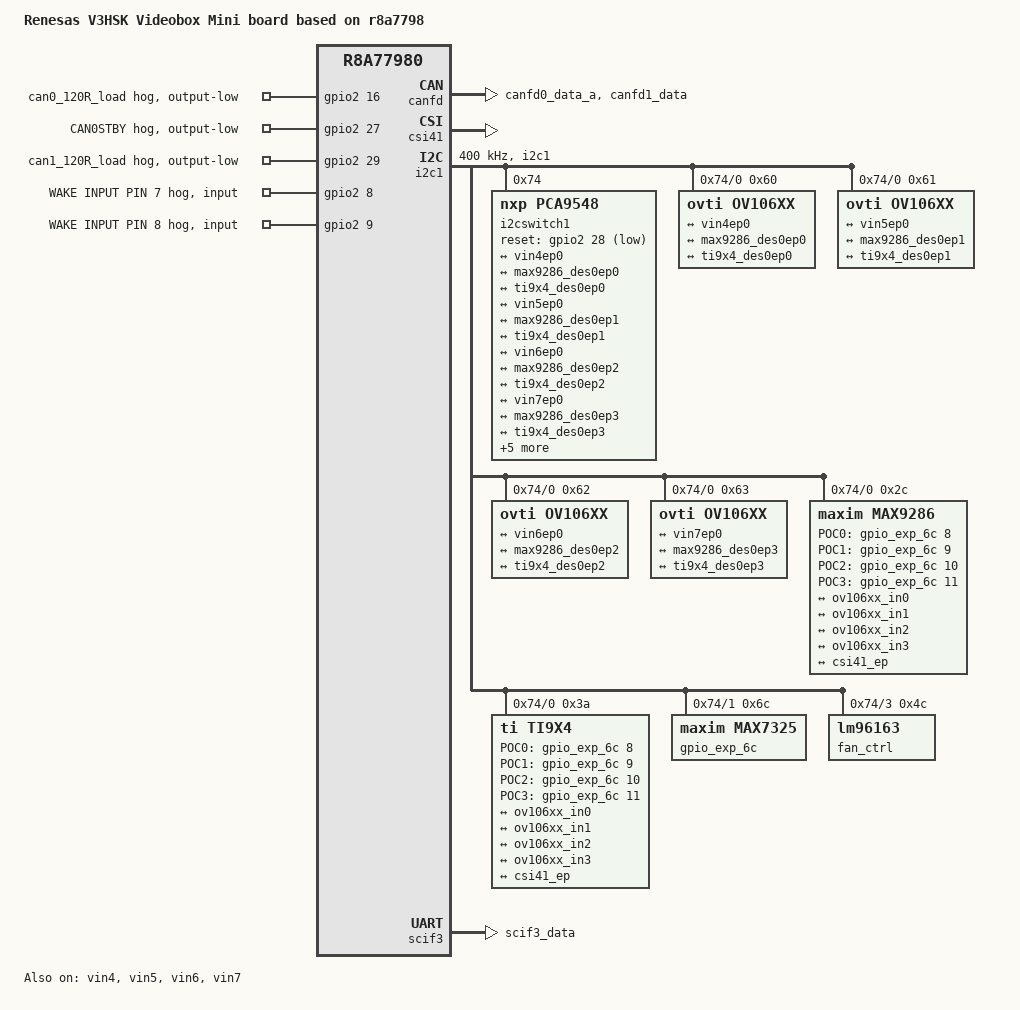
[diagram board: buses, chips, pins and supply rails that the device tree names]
/*
 * Device Tree Source for the V3HSK Videobox Mini board on r8a7798
 *
 * Copyright (C) 2018 Cogent Embedded, Inc.
 *
 * This file is licensed under the terms of the GNU General Public License
 * version 2.  This program is licensed "as is" without any warranty of any
 * kind, whether express or implied.
 */

#include "r8a77980-v3hsk.dts"
#include <dt-bindings/gpio/gpio.h>

/ {
	model = "Renesas V3HSK Videobox Mini board based on r8a7798";

	aliases {
		serial1 = &scif3;
	};
};

&canfd {
	pinctrl-0 = <&canfd0_pins &canfd1_pins>;
	pinctrl-names = "default";
	status = "okay";

	channel0 {
		status = "okay";
	};

	channel1 {
		status = "okay";
	};
};

&csi41 {
	status = "okay";

	virtual,channel {
		csi2_vc0 {
			data,type = "ycbcr422";
			receive,vc = <0>;
		};
		csi2_vc1 {
			data,type = "ycbcr422";
			receive,vc = <1>;
		};
		csi2_vc2 {
			data,type = "ycbcr422";
			receive,vc = <2>;
		};
		csi2_vc3 {
			data,type = "ycbcr422";
			receive,vc = <3>;
		};
	};

	port {
		#address-cells = <1>;
		#size-cells = <0>;

		csi41_ep: endpoint {
			clock-lanes = <0>;
			data-lanes = <1 2 3 4>;
			csi-rate = <300>;
		};
	};
};

&i2c1 {
	pinctrl-0 = <&i2c1_pins>;
	pinctrl-names = "default";
	status = "okay";

	clock-frequency = <400000>;

	i2cswitch1: i2c-switch@74 {
		compatible = "nxp,pca9548";
		#address-cells = <1>;
		#size-cells = <0>;
		reg = <0x74>;
		reset-gpios = <&gpio2 28 GPIO_ACTIVE_LOW>;

		i2c@0 {
			#address-cells = <1>;
			#size-cells = <0>;
			reg = <0>;

			ov106xx@0 {
				compatible = "ovti,ov106xx";
				reg = <0x60>;

				port@0 {
					ov106xx_in0: endpoint {
						clock-lanes = <0>;
						data-lanes = <1 2 3 4>;
						remote-endpoint = <&vin4ep0>;
					};
				};
				port@1 {
					ov106xx_max9286_des0ep0: endpoint@0 {
						remote-endpoint = <&max9286_des0ep0>;
					};
					ov106xx_ti9x4_des0ep0: endpoint@1 {
						remote-endpoint = <&ti9x4_des0ep0>;
					};
				};
			};

			ov106xx@1 {
				compatible = "ovti,ov106xx";
				reg = <0x61>;

				port@0 {
					ov106xx_in1: endpoint {
						clock-lanes = <0>;
						data-lanes = <1 2 3 4>;
						remote-endpoint = <&vin5ep0>;
					};
				};
				port@1 {
					ov106xx_max9286_des0ep1: endpoint@0 {
						remote-endpoint = <&max9286_des0ep1>;
					};
					ov106xx_ti9x4_des0ep1: endpoint@1 {
						remote-endpoint = <&ti9x4_des0ep1>;
					};
				};
			};

			ov106xx@2 {
				compatible = "ovti,ov106xx";
				reg = <0x62>;

				port@0 {
					ov106xx_in2: endpoint {
						clock-lanes = <0>;
						data-lanes = <1 2 3 4>;
						remote-endpoint = <&vin6ep0>;
					};
				};
				port@1 {
					ov106xx_max9286_des0ep2: endpoint@0 {
						remote-endpoint = <&max9286_des0ep2>;
					};
					ov106xx_ti9x4_des0ep2: endpoint@1 {
						remote-endpoint = <&ti9x4_des0ep2>;
					};
				};
			};

			ov106xx@3 {
				compatible = "ovti,ov106xx";
				reg = <0x63>;

				port@0 {
					ov106xx_in3: endpoint {
						clock-lanes = <0>;
						data-lanes = <1 2 3 4>;
						remote-endpoint = <&vin7ep0>;
					};
				};
				port@1 {
					ov106xx_max9286_des0ep3: endpoint@0 {
						remote-endpoint = <&max9286_des0ep3>;
					};
					ov106xx_ti9x4_des0ep3: endpoint@1 {
						remote-endpoint = <&ti9x4_des0ep3>;
					};
				};
			};

			max9286@0 {
				compatible = "maxim,max9286";
				reg = <0x2c>;
				maxim,links = <4>;
				maxim,lanes = <4>;
				maxim,resetb-gpio = <1>;
				maxim,fsync-mode = "automatic";
				maxim,timeout = <100>;

				POC0-gpios = <&gpio_exp_6c 8 GPIO_ACTIVE_HIGH>;
				POC1-gpios = <&gpio_exp_6c 9 GPIO_ACTIVE_HIGH>;
				POC2-gpios = <&gpio_exp_6c 10 GPIO_ACTIVE_HIGH>;
				POC3-gpios = <&gpio_exp_6c 11 GPIO_ACTIVE_HIGH>;

				port@0 {
					max9286_des0ep0: endpoint@0 {
						max9271-addr = <0x50>;
						dvp-order = <1>;
						remote-endpoint = <&ov106xx_in0>;
					};
					max9286_des0ep1: endpoint@1 {
						max9271-addr = <0x51>;
						dvp-order = <1>;
						remote-endpoint = <&ov106xx_in1>;
					};
					max9286_des0ep2: endpoint@2 {
						max9271-addr = <0x52>;
						dvp-order = <1>;
						remote-endpoint = <&ov106xx_in2>;
					};
					max9286_des0ep3: endpoint@3 {
						max9271-addr = <0x53>;
						dvp-order = <1>;
						remote-endpoint = <&ov106xx_in3>;
					};
				};
				port@1 {
					max9286_csi1ep0: endpoint {
						csi-rate = <700>;
						remote-endpoint = <&csi41_ep>;
					};
				};
			};

			ti9x4@0 {
				compatible = "ti,ti9x4";
				reg = <0x3a>;
				ti,links = <4>;
				ti,lanes = <4>;
				ti,forwarding-mode = "round-robin";

				POC0-gpios = <&gpio_exp_6c 8 GPIO_ACTIVE_HIGH>;
				POC1-gpios = <&gpio_exp_6c 9 GPIO_ACTIVE_HIGH>;
				POC2-gpios = <&gpio_exp_6c 10 GPIO_ACTIVE_HIGH>;
				POC3-gpios = <&gpio_exp_6c 11 GPIO_ACTIVE_HIGH>;

				port@0 {
					ti9x4_des0ep0: endpoint@0 {
						ti9x3-addr = <0x0c>;
						dvp-order = <0>;
						remote-endpoint = <&ov106xx_in0>;
					};
					ti9x4_des0ep1: endpoint@1 {
						ti9x3-addr = <0x0d>;
						dvp-order = <0>;
						remote-endpoint = <&ov106xx_in1>;
					};
					ti9x4_des0ep2: endpoint@2 {
						ti9x3-addr = <0x0e>;
						dvp-order = <0>;
						remote-endpoint = <&ov106xx_in2>;
					};
					ti9x4_des0ep3: endpoint@3 {
						ti9x3-addr = <0x0f>;
						dvp-order = <0>;
						remote-endpoint = <&ov106xx_in3>;
					};
				};
				port@1 {
					ti9x4_csi0ep0: endpoint {
						csi-rate = <700>;
						remote-endpoint = <&csi41_ep>;
					};
				};
			};
		};

		i2c@1 {
			#address-cells = <1>;
			#size-cells = <0>;
			reg = <1>;

			gpio_exp_6c: gpio@6c {
				compatible = "maxim,max7325";
				reg = <0x6c>;
				gpio-controller;
				#gpio-cells = <2>;

				virq {
					gpio-hog;
					gpios = <5 GPIO_ACTIVE_HIGH>;
					input;
					line-name = "VIRQ";
				};
				des_cfg {
					gpio-hog;
					gpios = <6 GPIO_ACTIVE_HIGH>;
					input;
					line-name = "CNFG0";
				};
				pwr_shdn {
					gpio-hog;
					gpios = <14 GPIO_ACTIVE_HIGH>;
					output-high;
					line-name = "PWR_SHDN";
				};
				des_shdn {
					gpio-hog;
					gpios = <13 GPIO_ACTIVE_HIGH>;
					output-high;
					line-name = "Des_SHDN";
				};
				fpdl_shdn {
					gpio-hog;
					gpios = <15 GPIO_ACTIVE_HIGH>;
					output-high;
					line-name = "FPDL_SHDN";
				};
			};
		};

		i2c@3 {
			#address-cells = <1>;
			#size-cells = <0>;
			reg = <3>;

			/* fan node - lm96063 */
			fan_ctrl: lm96063@4c {
				compatible = "lm96163";
				reg = <0x4c>;
			};
		};
	};
};

&gpio2 {
	can0_load {
		gpio-hog;
		gpios = <16 GPIO_ACTIVE_HIGH>;
		output-low;
		line-name = "can0_120R_load";
	};

	can0stby {
		gpio-hog;
		gpios = <27 GPIO_ACTIVE_HIGH>;
		output-low;
		line-name = "CAN0STBY";
	};

	can1_load {
		gpio-hog;
		gpios = <29 GPIO_ACTIVE_HIGH>;
		output-low;
		line-name = "can1_120R_load";
	};

	wake_pin_7 {
		gpio-hog;
		gpios = <8 GPIO_ACTIVE_HIGH>;
		input;
		line-name = "WAKE INPUT PIN 7";
	};

	wake_pin_8 {
		gpio-hog;
		gpios = <9 GPIO_ACTIVE_HIGH>;
		input;
		line-name = "WAKE INPUT PIN 8";
	};
};

&pfc {
	canfd0_pins: canfd0 {
		groups = "canfd0_data_a";
		function = "canfd0";
	};

	canfd1_pins: canfd1 {
		groups = "canfd1_data";
		function = "canfd1";
	};

	i2c1_pins: i2c1 {
		groups = "i2c1";
		function = "i2c1";
	};

	scif3_pins: scif3 {
		groups = "scif3_data";
		function = "scif3";
	};
};

&scif3 {
	pinctrl-0 = <&scif3_pins>;
	pinctrl-names = "default";

	status = "okay";
};

&vin4 {
	status = "okay";

	ports {
		#address-cells = <1>;
		#size-cells = <0>;

		port@0 {
			vin4ep0: endpoint {
				csi,select = "csi41";
				virtual,channel = <0>;
				data-lanes = <1 2 3 4>;
				remote-endpoint = <&ov106xx_in0>;
			};
		};
		port@1 {
			csi1ep0: endpoint {
				remote-endpoint = <&csi41_ep>;
			};
		};
		port@2 {
			vin4_max9286_des0ep0: endpoint@0 {
				remote-endpoint = <&max9286_des0ep0>;
			};
			vin4_ti9x4_des0ep0: endpoint@1 {
				remote-endpoint = <&ti9x4_des0ep0>;
			};
		};
	};
};

&vin5 {
	status = "okay";

	ports {
		#address-cells = <1>;
		#size-cells = <0>;

		port@0 {
			vin5ep0: endpoint {
				csi,select = "csi41";
				virtual,channel = <1>;
				data-lanes = <1 2 3 4>;
				remote-endpoint = <&ov106xx_in1>;
			};
		};
		port@1 {
			csi1ep1: endpoint {
				remote-endpoint = <&csi41_ep>;
			};
		};
		port@2 {
			vin5_max9286_des0ep1: endpoint@0 {
				remote-endpoint = <&max9286_des0ep1>;
			};
			vin5_ti9x4_des0ep1: endpoint@1 {
				remote-endpoint = <&ti9x4_des0ep1>;
			};
		};
	};
};

&vin6 {
	status = "okay";

	ports {
		#address-cells = <1>;
		#size-cells = <0>;

		port@0 {
			vin6ep0: endpoint {
				csi,select = "csi41";
				virtual,channel = <2>;
				data-lanes = <1 2 3 4>;
				remote-endpoint = <&ov106xx_in2>;
			};
		};
		port@1 {
			csi1ep2: endpoint {
				remote-endpoint = <&csi41_ep>;
			};
		};
		port@2 {
			vin6_max9286_des0ep2: endpoint@0 {
				remote-endpoint = <&max9286_des0ep2>;
			};
			vin6_ti9x4_des0ep2: endpoint@1 {
				remote-endpoint = <&ti9x4_des0ep2>;
			};
		};
	};
};

&vin7 {
	status = "okay";

	ports {
		#address-cells = <1>;
		#size-cells = <0>;

		port@0 {
			vin7ep0: endpoint {
				csi,select = "csi41";
				virtual,channel = <3>;
				data-lanes = <1 2 3 4>;
				remote-endpoint = <&ov106xx_in3>;
			};
		};
		port@1 {
			csi1ep3: endpoint {
				remote-endpoint = <&csi41_ep>;
			};
		};
		port@2 {
			vin7_max9286_des0ep3: endpoint@0 {
				remote-endpoint = <&max9286_des0ep3>;
			};
			vin7_ti9x4_des0ep3: endpoint@1 {
				remote-endpoint = <&ti9x4_des0ep3>;
			};
		};
	};
};
